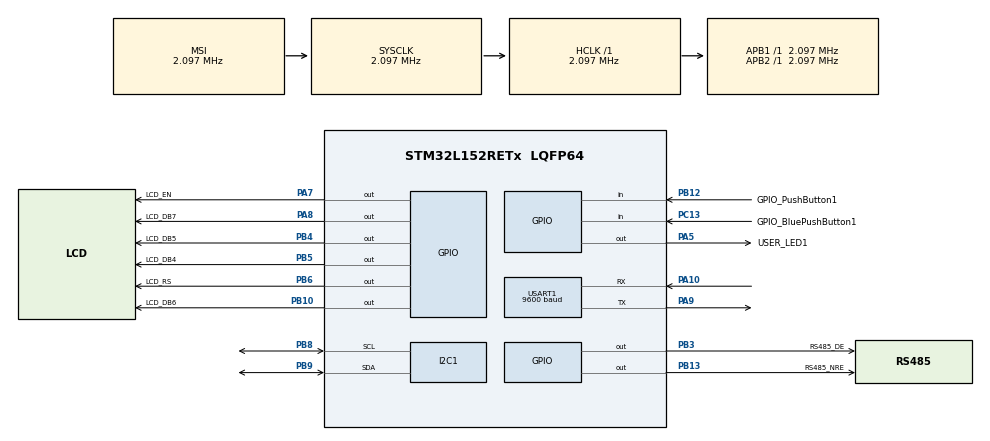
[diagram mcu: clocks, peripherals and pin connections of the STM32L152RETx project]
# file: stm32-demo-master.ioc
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Mcu.Family=STM32L1
Mcu.Name=STM32L152RETx
Mcu.Package=LQFP64
NVIC.PriorityGroup=NVIC_PRIORITYGROUP_4
PA10.Mode=Asynchronous
PA10.Signal=USART1_RX
PA5.GPIO_Label=USER_LED1
PA5.Signal=GPIO_Output
PA7.GPIO_Label=LCD_EN
PA7.Signal=GPIO_Output
PA8.GPIO_Label=LCD_DB7
PA8.Signal=GPIO_Output
PA9.Mode=Asynchronous
PA9.Signal=USART1_TX
PB10.GPIO_Label=LCD_DB6
PB10.Signal=GPIO_Output
PB12.GPIO_Label=GPIO_PushButton1
PB12.Signal=GPIO_Input
PB13.GPIO_Label=RS485_NRE
PB13.Signal=GPIO_Output
PB3.GPIO_Label=RS485_DE
PB3.Signal=GPIO_Output
PB4.GPIO_Label=LCD_DB5
PB4.Signal=GPIO_Output
PB5.GPIO_Label=LCD_DB4
PB5.Signal=GPIO_Output
PB6.GPIO_Label=LCD_RS
PB6.Signal=GPIO_Output
PB8.Mode=I2C
PB8.Signal=I2C1_SCL
PB9.Mode=I2C
PB9.Signal=I2C1_SDA
PC13-WKUP2.GPIO_Label=GPIO_BluePushButton1
PC13-WKUP2.Signal=GPIO_Input
ProjectManager.HeapSize=0x200
ProjectManager.StackSize=0x400
ProjectManager.TargetToolchain=STM32CubeIDE
RCC.AHBFreq_Value=2097000
RCC.APB1Freq_Value=2097000
RCC.APB2Freq_Value=2097000
RCC.HSE_VALUE=24000000
RCC.HSI_VALUE=16000000
RCC.LSE_VALUE=32768
RCC.MSI_VALUE=2097000
RCC.SYSCLKFreq_VALUE=2097000
RCC.VCOOutputFreq_Value=48000000
USART1.BaudRate=9600
USART1.VirtualMode=VM_ASYNC
board=custom

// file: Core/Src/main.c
/* USER CODE BEGIN Header */
/**
 * @file main.c
 * @author Joel Anttila (joel.anttila@outlook.com)
 * @brief
 * @version 0.1
 * @date 2021-11-26
 *
 * @copyright Copyright (c) 2021
 *
 */
/* USER CODE END Header */
#include "main.h"
#include "i2c.h"
#include "usart.h"
#include "gpio.h"

/* USER CODE BEGIN Includes */

#include "esp_entry.h"

/* USER CODE END Includes */

/* USER CODE BEGIN PV */

static OS_TCB EspStartupTaskTCB;
static CPU_STK EspStartupTaskStk[128u];

/* USER CODE END PV */

void SystemClock_Config(void);

int main(void)
{
  /* USER CODE BEGIN 1 */
    OS_ERR os_err;
  /* USER CODE END 1 */

  /* MCU Configuration--------------------------------------------------------*/

  /* Reset of all peripherals, Initializes the Flash interface and the Systick. */
  HAL_Init();

  /* Configure the system clock */
  SystemClock_Config();

  /* USER CODE BEGIN SysInit */

    BSP_OS_TickInit();

    Mem_Init();
    CPU_IntDis();
    CPU_Init();

    OSInit(&os_err);

    if (os_err != OS_ERR_NONE)
    {
        Error_Handler();
    }

    App_OS_SetAllHooks();

  /* USER CODE END SysInit */

  /* Initialize all configured peripherals */
  MX_GPIO_Init();
  MX_I2C1_Init();
  MX_USART1_UART_Init();
  /* USER CODE BEGIN 2 */

    OSTaskCreate(&EspStartupTaskTCB, "Esp Boot Task", EspStartupTask, 0u, 3u, EspStartupTaskStk,
                 EspStartupTaskStk[128u / 10u], 128u, 0u, 0u, 0u, (OS_OPT_TASK_STK_CHK | OS_OPT_TASK_STK_CLR), &os_err);

    if (os_err != OS_ERR_NONE)
    {
        Error_Handler();
    }

    OSStart(&os_err);

  /* USER CODE END 2 */

  /* Infinite loop */
  /* USER CODE BEGIN WHILE */
    while (1)
    {
        ;
    /* USER CODE END WHILE */

    }
}

void SystemClock_Config(void)
{
  RCC_OscInitTypeDef RCC_OscInitStruct = {0};
  RCC_ClkInitTypeDef RCC_ClkInitStruct = {0};

  /** Configure the main internal regulator output voltage
  */
  __HAL_PWR_VOLTAGESCALING_CONFIG(PWR_REGULATOR_VOLTAGE_SCALE1);
  /** Initializes the RCC Oscillators according to the specified parameters
  * in the RCC_OscInitTypeDef structure.
  */
  RCC_OscInitStruct.OscillatorType = RCC_OSCILLATORTYPE_MSI;
  RCC_OscInitStruct.MSIState = RCC_MSI_ON;
  RCC_OscInitStruct.MSICalibrationValue = 0;
  RCC_OscInitStruct.MSIClockRange = RCC_MSIRANGE_5;
  RCC_OscInitStruct.PLL.PLLState = RCC_PLL_NONE;
  if (HAL_RCC_OscConfig(&RCC_OscInitStruct) != HAL_OK)
  {
    Error_Handler();
  }
  /** Initializes the CPU, AHB and APB buses clocks
  */
  RCC_ClkInitStruct.ClockType = RCC_CLOCKTYPE_HCLK|RCC_CLOCKTYPE_SYSCLK
                              |RCC_CLOCKTYPE_PCLK1|RCC_CLOCKTYPE_PCLK2;
  RCC_ClkInitStruct.SYSCLKSource = RCC_SYSCLKSOURCE_MSI;
  RCC_ClkInitStruct.AHBCLKDivider = RCC_SYSCLK_DIV1;
  RCC_ClkInitStruct.APB1CLKDivider = RCC_HCLK_DIV1;
  RCC_ClkInitStruct.APB2CLKDivider = RCC_HCLK_DIV1;

  if (HAL_RCC_ClockConfig(&RCC_ClkInitStruct, FLASH_LATENCY_0) != HAL_OK)
  {
    Error_Handler();
  }
}

void Error_Handler(void)
{
  /* USER CODE BEGIN Error_Handler_Debug */
    /* User can add his own implementation to report the HAL error return state */
    __disable_irq();
    while (1)
    {
        // Make some repeatable pattern to indicate error.
        HAL_GPIO_TogglePin(USER_LED1_GPIO_Port, USER_LED1_Pin);
        HAL_Delay(1000);
        HAL_GPIO_TogglePin(USER_LED1_GPIO_Port, USER_LED1_Pin);
        HAL_Delay(500);
        HAL_GPIO_TogglePin(USER_LED1_GPIO_Port, USER_LED1_Pin);
        HAL_Delay(500);
    }
  /* USER CODE END Error_Handler_Debug */
}

#ifdef  USE_FULL_ASSERT
/**
  * @brief  Reports the name of the source file and the source line number
  *         where the assert_param error has occurred.
  * @param  file: pointer to the source file name
  * @param  line: assert_param error line source number
  * @retval None
  */
void assert_failed(uint8_t *file, uint32_t line)
{
  /* USER CODE BEGIN 6 */
    /* User can add his own implementation to report the file name and line
       number,
       ex: printf("Wrong parameters value: file %s on line %d\r\n", file, line) */
  /* USER CODE END 6 */
}
#endif /* USE_FULL_ASSERT */
